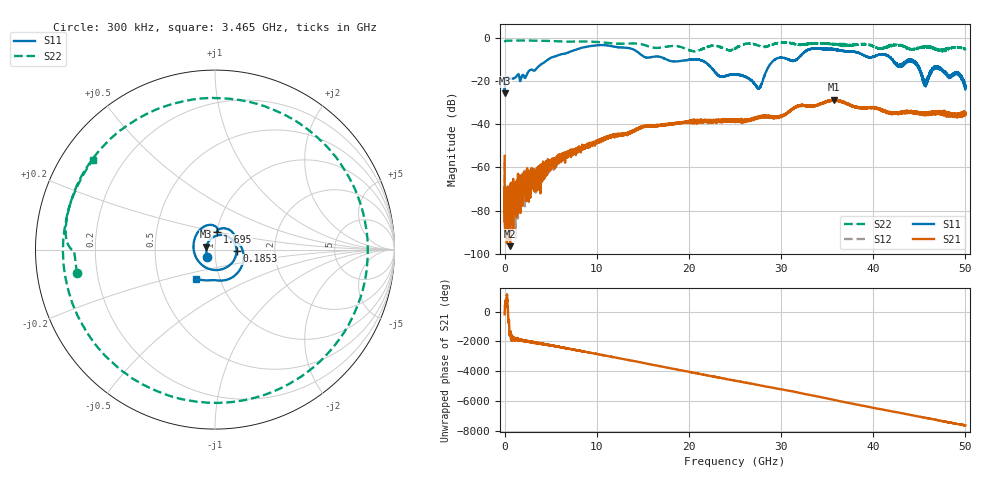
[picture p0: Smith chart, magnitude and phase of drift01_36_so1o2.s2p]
!Created with skrf (http://scikit-rf.org).
# Hz S RI R 50.0
!freq ReS11 ImS11 ReS21 ImS21 ReS12 ImS12 ReS22 ImS22
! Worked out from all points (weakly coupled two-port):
!   10001 points, 300 kHz to 50 GHz, reference 50 ohm
!   highest |S21| = -28.77 dB at 35.72 GHz (marker M1); lowest = -96.3 dB at 595.3 MHz (marker M2)
!   lowest |S11| = -25.8 dB at 5.3 MHz (marker M3), VSWR 1.11, Z = 45.3 + j1.44 ohm
!   |S11| at or under -10 dB: start of sweep to 4.765 GHz; 20.85 GHz to 29.39 GHz (8.534 GHz wide, 34 % of centre); 43.88 GHz to end of sweep (the widest 3 of 16)
!   |S22| runs from -6.5 to -1.4 dB; largest |S21 - S12| = 0.0043
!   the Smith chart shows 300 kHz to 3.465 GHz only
!   S11 on the Smith chart (normalised r, x): 300 kHz: 0.91, -0.08; 185.3 MHz: 1.27, -0.02; 1.695 GHz: 1.00, +0.20; 3.465 GHz: 0.77, -0.26
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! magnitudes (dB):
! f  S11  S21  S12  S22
! 300 kHz  -24.0  -54.7  -57.7  -2.2
! 5.3 MHz  -25.8  -72.1  -81.0  -2.1
! 185.3 MHz  -18.4  -80.4  -77.2  -1.4
! 595.3 MHz  -18.8  -96.3  -79.3  -1.5
! 1.695 GHz  -20.1  -77.4  -67.3  -1.4
! 3.465 GHz  -14.3  -70.7  -64.4  -1.5
! 8.335 GHz  -4.8  -50.9  -51.1  -1.8
! 16.67 GHz  -8.7  -40.4  -40.6  -4.8
! 21.18 GHz  -10.3  -38.5  -38.9  -5.9
! 25 GHz  -17.0  -38.3  -38.6  -5.1
! 27.59 GHz  -23.6  -37.0  -36.8  -3.8
! 29.28 GHz  -10.3  -36.7  -36.8  -2.9
! 31.45 GHz  -10.8  -32.4  -32.5  -3.0
! 33.34 GHz  -5.1  -31.7  -31.4  -2.6
! 35.72 GHz  -5.5  -28.8  -29.1  -3.0
! 41.67 GHz  -8.8  -34.8  -34.6  -4.1
! 42.74 GHz  -12.7  -35.0  -35.0  -3.4
! 44.43 GHz  -11.3  -34.9  -34.6  -5.3
! 45.63 GHz  -21.0  -35.3  -34.8  -4.3
! 46.96 GHz  -13.6  -34.7  -35.0  -5.7
! 49.21 GHz  -16.1  -36.3  -35.9  -4.4
! 50 GHz  -22.3  -35.7  -35.4  -5.3
